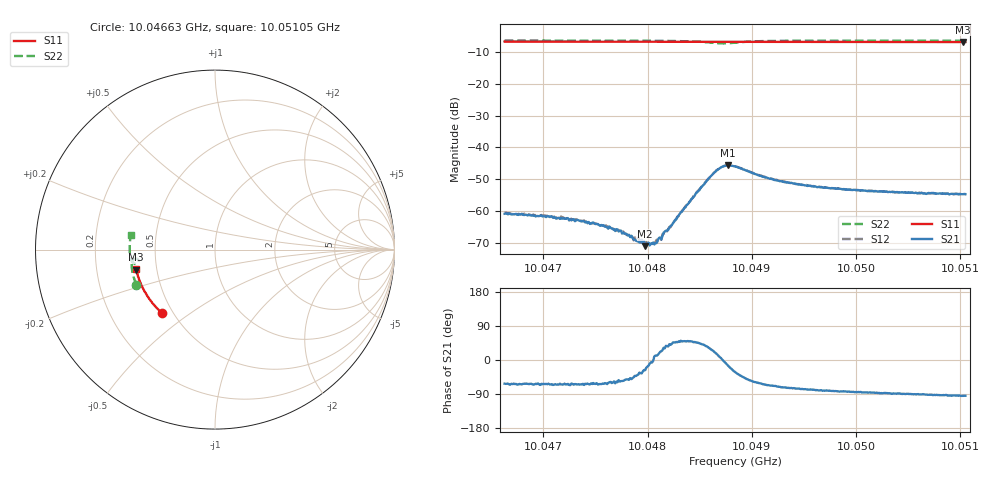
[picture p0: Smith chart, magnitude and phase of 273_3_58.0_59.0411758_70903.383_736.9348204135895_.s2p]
#  HZ  S  RI  R  50.00
! Rohde & Schwarz Vector Network Analyzer
! Rohde-Schwarz,ZNB20-2Port,1311601062101988,3.16
! Created: UTC 3/21/2024, 1:02:28 AM
! freq[Hz]  re:S11  im:S11  re:S21  im:S21  re:S12  im:S12  re:S22  im:S22
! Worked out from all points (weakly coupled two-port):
!   401 points, 10.04663 GHz to 10.05105 GHz, reference 50 ohm
!   highest |S21| = -45.67 dB at 10.04877 GHz (marker M1); lowest = -71.1 dB at 10.04798 GHz (marker M2)
!   lowest |S11| = -6.9 dB at 10.05103 GHz (marker M3), VSWR 2.66, Z = 19.1 - j5.34 ohm
!   |S11| at or under -10 dB: nowhere
!   |S22| runs from -7.3 to -6.4 dB; largest |S21 - S12| = 0.00038
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1.0046629e10  -0.293 -0.3558  0.000419 -0.000801  0.000471 -0.000805  -0.4378 -0.1955
1.004706e10  -0.3138 -0.3364  0.000351 -0.000722  0.0004 -0.000703  -0.4483 -0.1682
1.0047369e10  -0.3281 -0.3216  0.000299 -0.000618  0.000326 -0.000618  -0.4544 -0.1477
1.0047624e10  -0.3391 -0.3092  0.00026 -0.000458  0.000305 -0.000478  -0.4591 -0.1305
1.0047723e10  -0.3433 -0.3041  0.000286 -0.000381  0.000326 -0.00038  -0.4606 -0.1234
1.0047845e10  -0.3486 -0.2978  0.000261 -0.000314  0.000281 -0.000285  -0.4621 -0.1144
1.00479e10  -0.3506 -0.2948  0.000256 -0.000215  0.000271 -0.000223  -0.4628 -0.1102
1.0047955e10  -0.353 -0.2921  0.000265 -0.000153  0.000304 -0.00015  -0.4633 -0.1062
1.0047977e10  -0.3539 -0.2909  0.000249 -0.000127  0.000279 -0.000109  -0.4634 -0.1043
1.0048044e10  -0.3565 -0.2874  0.0003 -3.37e-05  0.000295 -4.44e-06  -0.464 -0.0992
1.004811e10  -0.3591 -0.284  0.00036 0.000112  0.000324 0.000106  -0.4645 -0.0937
1.0048209e10  -0.3631 -0.2787  0.000407 0.000362  0.000417 0.000372  -0.4643 -0.0851
1.0048463e10  -0.3726 -0.2646  0.00129 0.00136  0.00122 0.00143  -0.4571 -0.0603
1.0048596e10  -0.3771 -0.2574  0.00291 0.00171  0.00279 0.00191  -0.4419 -0.0503
1.0048685e10  -0.3801 -0.2526  0.00452 0.000812  0.00447 0.00109  -0.428 -0.0558
1.0048773e10  -0.3831 -0.2479  0.00503 -0.00133  0.00515 -0.00106  -0.4269 -0.0716
1.0048839e10  -0.3855 -0.2442  0.00427 -0.00263  0.00447 -0.00235  -0.4365 -0.0787
1.0049226e10  -0.3981 -0.222  0.00113 -0.00282  0.00128 -0.00282  -0.4693 -0.0514
1.004958e10  -0.4086 -0.2011  0.000491 -0.00239  0.000631 -0.00237  -0.4746 -0.023
1.005032e10  -0.4265 -0.156  8.26e-05 -0.002  0.000205 -0.002  -0.4751 0.03
1.0051028e10  -0.4392 -0.1113  -0.000148 -0.00183  -5.15e-05 -0.00184  -0.4692 0.0772
1.005105e10  -0.4396 -0.1099  -0.000135 -0.00184  -7.43e-05 -0.00183  -0.4691 0.0787
